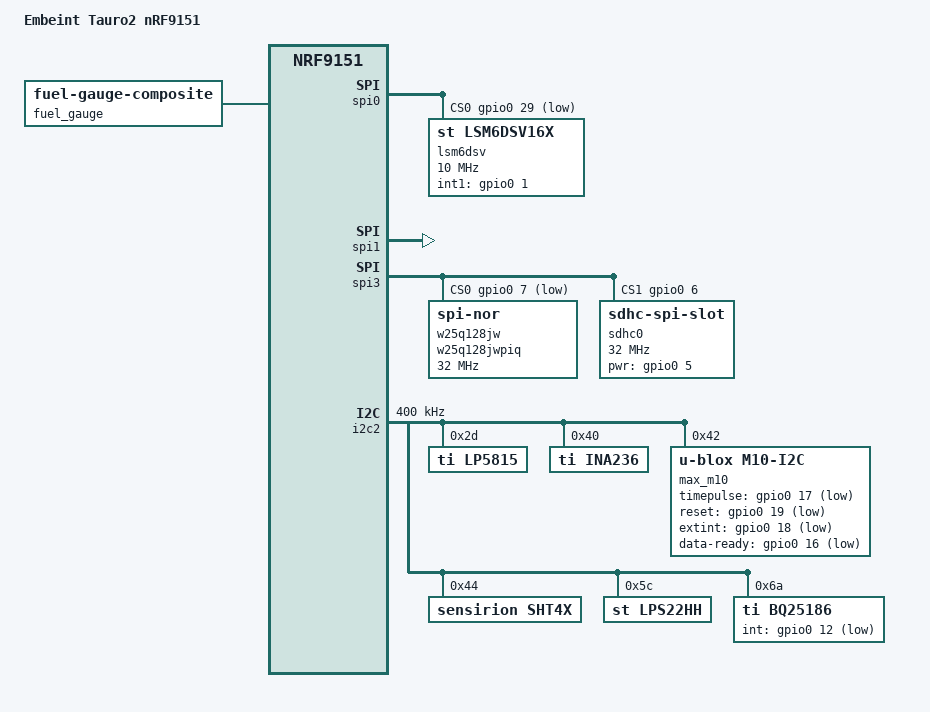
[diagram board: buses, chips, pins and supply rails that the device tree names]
/*
 * Copyright (c) 2026 Embeint Holdings Pty Ltd
 *
 * SPDX-License-Identifier: Apache-2.0
 */

#include "tauro2_nrf9151_common-pinctrl.dtsi"
#include <zephyr/dt-bindings/battery/battery.h>
#include <zephyr/dt-bindings/input/input-event-codes.h>
#include <zephyr/dt-bindings/sensor/lps22hh.h>
#include <zephyr/dt-bindings/led/led.h>

/ {
	model = "Embeint Tauro2 nRF9151";
	compatible = "embeint,tauro2-nrf9151";

	chosen {
		zephyr,console = &rtt0;
		zephyr,bt-hci = &hci_spi;
	};

	rtt0: rtt_chan0 {
		compatible = "segger,rtt-uart";
		status = "okay";
	};

	/* Measures V_SYS instead of V_BAT, but as a fallback better than nothing.
	 * Values looks to be within ~100mV even when charging.
	 */
	nrf9x_batt: nrf9x_batt {
		compatible = "nordic,nrf9x-batt";
	};

	fuel_gauge: fuel_gauge {
		compatible = "zephyr,fuel-gauge-composite";
		source-primary = <&ina236>;
		source-secondary = <&nrf9x_batt>;
		device-chemistry = "lithium-ion-polymer";
		ocv-capacity-table-0 = <BATTERY_OCV_CURVE_LITHIUM_ION_POLYMER_DEFAULT>;
		charge-full-design-microamp-hours = <13400000>;
		source-secondary-fallback;
	};

	aliases {
		led-controller0 = &lp5815;
		charger0 = &bq25186;
		fuel-gauge0 = &fuel_gauge;
		imu0 = &lsm6dsv;
		gnss = &max_m10;
		watchdog0 = &wdt0;
		environmental0 = &sht4x;
		environmental1 = &lps22hh;
	};
};

&gpiote {
	status = "okay";
};

&gpio0 {
	status = "okay";
	/* Every pin except the GNSS timepulse interrupt */
	sense-edge-mask = <0xfffdffff>;
};

&spi0 {
	compatible = "nordic,nrf-spim";
	status = "okay";
	cs-gpios = <&gpio0 29 (GPIO_ACTIVE_LOW | GPIO_OPEN_DRAIN)>;
	pinctrl-0 = <&spi0_default>;
	pinctrl-1 = <&spi0_sleep>;
	pinctrl-names = "default", "sleep";

	lsm6dsv: lsm6dsv@0 {
		compatible = "st,lsm6dsv16x";
		reg = <0>;
		spi-max-frequency = <10000000>;
		int1-gpios = <&gpio0 1 GPIO_ACTIVE_HIGH>;
	};
};

&spi1 {
	compatible = "nordic,nrf-spim";
	status = "okay";
	cs-gpios = <&gpio0 22 GPIO_ACTIVE_LOW>;
	pinctrl-0 = <&spi1_default>;
	pinctrl-1 = <&spi1_sleep>;
	pinctrl-names = "default", "sleep";

	wake-gpios = <&gpio0 20 GPIO_ACTIVE_HIGH>;

	/* Nordic nRF54L15 (Ezurio BL54L15) */
	hci_spi: bt-hci@0 {
		compatible = "zephyr,bt-hci-spi";
		reg = <0>;
		spi-max-frequency = <8000000>;
		reset-gpios = <&gpio0 15 (GPIO_ACTIVE_LOW)>;
		irq-gpios = <&gpio0 21 (GPIO_ACTIVE_HIGH | GPIO_PULL_DOWN)>;
		reset-assert-duration-ms = <1>;
		spi-cs-setup-delay-ns = <10000>;
	};
};


&spi3 {
	compatible = "nordic,nrf-spim";
	status = "okay";
	cs-gpios = <&gpio0 7 (GPIO_ACTIVE_LOW | GPIO_OPEN_DRAIN)>,
			<&gpio0 6 (GPIO_ACTIVE_HIGH)>;
	pinctrl-0 = <&spi3_default>;
	pinctrl-1 = <&spi3_sleep>;
	pinctrl-names = "default", "sleep";

	w25q128jw: w25q128jwpiq@0 {
		compatible = "jedec,spi-nor";
		status = "okay";
		reg = <0>;
		spi-max-frequency = <32000000>;
		size = <134217728>;
		has-dpd;
		t-enter-dpd = <3000>;
		t-exit-dpd = <20000>;
		jedec-id = [ef 80 18];
	};

	sdhc0: sdhc@1 {
		compatible = "zephyr,sdhc-spi-slot";
		status = "okay";
		reg = <1>;
		spi-max-frequency = <32000000>;
		pwr-gpios = <&gpio0 5 GPIO_ACTIVE_HIGH>;
		mmc: mmc {
			compatible = "zephyr,sdmmc-disk";
			status = "okay";
			disk-name = "SD";
		};
	};
};

&i2c2 {
	compatible = "nordic,nrf-twim";
	status = "okay";
	pinctrl-0 = <&i2c2_default>;
	pinctrl-1 = <&i2c2_sleep>;
	pinctrl-names = "default", "sleep";
	clock-frequency = <I2C_BITRATE_FAST>;

	lp5815: lp5815@2d {
		compatible = "ti,lp5815";
		reg = <0x2d>;
		/* 1/2 of maximum current (~12mA) */
		out0-current-max = <0x80>;
		out1-current-max = <0x80>;
		out2-current-max = <0x80>;

		red_led: led_0 {
			index = <0>;
			color-mapping = <LED_COLOR_ID_RED>;
		};
		green_led: led_1 {
			index = <1>;
			color-mapping = <LED_COLOR_ID_GREEN>;
		};
		blue_led: led_2 {
			index = <2>;
			color-mapping = <LED_COLOR_ID_BLUE>;
		};
	};

	ina236: ina236@40 {
		reg = <0x40>;
		compatible = "ti,ina236";
		status = "okay";
		current-lsb-microamps = <32>;
		rshunt-micro-ohms = <82000>;
		adc-mode = "Shutdown single shot";
	};

	max_m10: max_m10@42 {
		compatible = "u-blox,m10-i2c";
		status = "okay";
		reg = <0x42>;
		timepulse-gpios = <&gpio0 17 GPIO_ACTIVE_LOW>;
		reset-gpios = <&gpio0 19 GPIO_ACTIVE_LOW>;
		extint-gpios = <&gpio0 18 GPIO_ACTIVE_LOW>;
		data-ready-gpios = <&gpio0 16 GPIO_ACTIVE_LOW>;
		data-ready-pio = <1>;
	};

	sht4x: sht4x@44 {
		compatible = "sensirion,sht4x";
		status = "okay";
		reg = <0x44>;
		repeatability = <2>;
	};

	lps22hh: lps22hh@5c {
		compatible = "st,lps22hh";
		status = "okay";
		reg = <0x5c>;
		odr = <LPS22HH_DT_ODR_POWER_DOWN>;
	};

	bq25186: bq25186@6a {
		compatible = "ti,bq25186";
		reg = <0x6a>;
		int-gpios = <&gpio0 12 (GPIO_ACTIVE_LOW | GPIO_PULL_UP)>;
		constant-charge-voltage-max-microvolt = <4200000>;
		precharge-voltage-threshold-microvolt = <3000000>;
		constant-charge-current-max-microamp = <1000000>;
		battery-discharge-current-limit-milliamp = <3000>;
		battery-undervoltage-lockout-millivolt = <2600>;
		re-charge-threshold-millivolt = <100>;
		vsys-target-regulation = "4V5";
		/*  EN: <&gpio0 11 GPIO_ACTIVE_LOW>
		 */
	};
};

/* Include default memory partition configuration file */
#include <vendor/nordic/nrf91xx_partition.dtsi>
